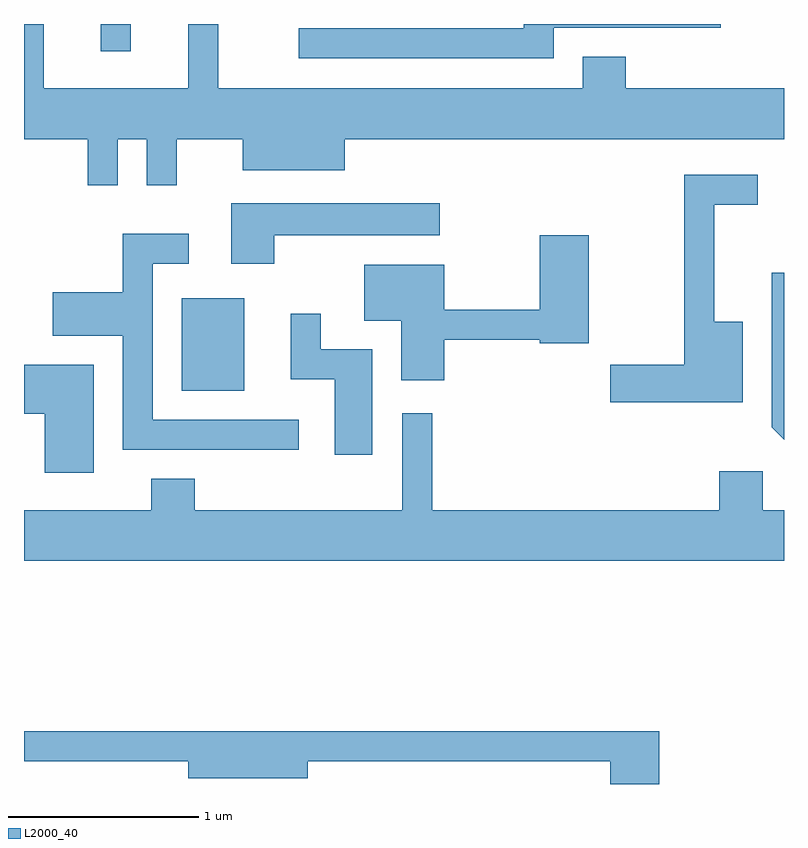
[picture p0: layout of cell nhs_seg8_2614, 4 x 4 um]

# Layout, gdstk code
import gdstk
lib = gdstk.Library(unit=1e-6, precision=1e-09)
def R(c, l, rs):  # rectangles x0, y0, x1, y1
    for r in rs: c.add(gdstk.rectangle(r[:2], r[2:], *l))
def P(c, l, *ps):  # polygons
    for p in ps: c.add(gdstk.Polygon(p, *l))
L2000_40 = (2000, 40)

nhs_seg8_2614 = lib.new_cell('nhs_seg8_2614')
R(nhs_seg8_2614, L2000_40, [(264.441,1848.411,264.769,1848.899), (264.016,1850.198,264.174,1850.342)])
P(nhs_seg8_2614, L2000_40, [(266.399,1850.321),(267.278,1850.321),(267.278,1850.342),(266.241,1850.342),(266.241,1850.319),(265.058,1850.319),(265.058,1850.161),(266.399,1850.161)],
  [(264.104,1849.736),(264.256,1849.736),(264.256,1849.493),(264.414,1849.493),(264.414,1849.736),(264.761,1849.736),(264.761,1849.571),(265.299,1849.571),(265.299,1849.736),(267.611,1849.736),(267.611,1850.004),(266.779,1850.004),(266.779,1850.169),(266.551,1850.169),(266.551,1850.004),(264.634,1850.004),(264.634,1850.342),(264.476,1850.342),(264.476,1850.004),(263.714,1850.004),(263.714,1850.342),(263.611,1850.342),(263.611,1849.736),(263.946,1849.736),(263.946,1849.493),(264.104,1849.493)],
  [(267.394,1848.774),(267.244,1848.774),(267.244,1849.391),(267.473,1849.391),(267.473,1849.549),(267.086,1849.549),(267.086,1848.549),(266.696,1848.549),(266.696,1848.351),(267.394,1848.351)],
  [(264.929,1849.231),(265.798,1849.231),(265.798,1849.399),(264.701,1849.399),(264.701,1849.081),(264.929,1849.081)],
  [(265.058,1848.259),(264.289,1848.259),(264.289,1849.081),(264.478,1849.081),(264.478,1849.239),(264.131,1849.239),(264.131,1848.929),(263.761,1848.929),(263.761,1848.701),(264.131,1848.701),(264.131,1848.101),(265.058,1848.101)],
  [(265.824,1848.681),(266.326,1848.681),(266.326,1848.661),(266.584,1848.661),(266.584,1849.229),(266.326,1849.229),(266.326,1848.839),(265.824,1848.839),(265.824,1849.074),(265.401,1849.074),(265.401,1848.781),(265.596,1848.781),(265.596,1848.466),(265.824,1848.466)],
  [(267.611,1849.033),(267.546,1849.033),(267.546,1848.219),(267.611,1848.154)],
  [(265.444,1848.629),(265.174,1848.629),(265.174,1848.818),(265.016,1848.818),(265.016,1848.471),(265.246,1848.471),(265.246,1848.076),(265.444,1848.076)],
  [(263.979,1848.549),(263.611,1848.549),(263.611,1848.291),(263.721,1848.291),(263.721,1847.981),(263.979,1847.981)],
  [(267.611,1847.784),(267.499,1847.784),(267.499,1847.989),(267.271,1847.989),(267.271,1847.784),(265.759,1847.784),(265.759,1848.293),(265.601,1848.293),(265.601,1847.784),(264.509,1847.784),(264.509,1847.949),(264.281,1847.949),(264.281,1847.784),(263.611,1847.784),(263.611,1847.516),(267.611,1847.516)],
  [(266.954,1846.619),(263.611,1846.619),(263.611,1846.461),(264.476,1846.461),(264.476,1846.371),(265.104,1846.371),(265.104,1846.461),(266.696,1846.461),(266.696,1846.342),(266.954,1846.342)])

lib.write_gds('nhs_seg8_2614.gds')
